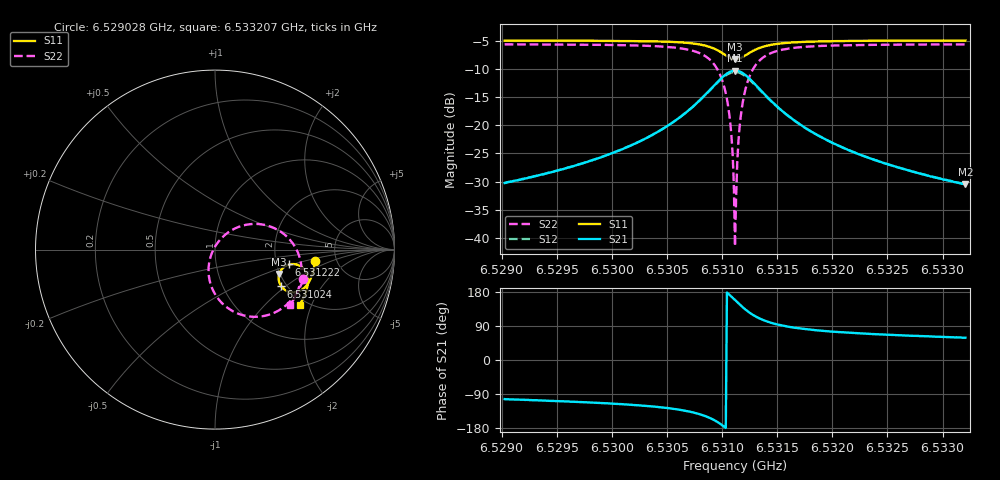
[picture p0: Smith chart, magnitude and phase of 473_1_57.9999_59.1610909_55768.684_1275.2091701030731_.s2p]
#  HZ  S  RI  R  50.00
! Rohde & Schwarz Vector Network Analyzer
! Rohde-Schwarz,ZNB20-2Port,1311601062101988,3.16
! Created: UTC 3/21/2024, 1:11:26 AM
! freq[Hz]  re:S11  im:S11  re:S21  im:S21  re:S12  im:S12  re:S22  im:S22
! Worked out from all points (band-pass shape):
!   401 points, 6.529028 GHz to 6.533207 GHz, reference 50 ohm
!   highest |S21| = -10.34 dB at 6.531118 GHz (marker M1); lowest = -30.5 dB at 6.533207 GHz (marker M2)
!   |S21| within 3 dB of the highest: 6.53091 GHz to 6.531327 GHz (417.2 kHz wide, 0.00639 % of centre)
!   lowest |S11| = -8.3 dB at 6.531118 GHz (marker M3), VSWR 2.24, Z = 99 - j31.6 ohm
!   |S11| at or under -10 dB: nowhere
!   |S22| runs from -41.4 to -5.7 dB; largest |S21 - S12| = 0.012
!   S11 on the Smith chart (normalised r, x): 6.529028 GHz: 3.43, -0.62; 6.531024 GHz: 1.87, -0.93; 6.531222 GHz: 2.34, -0.47; 6.533207 GHz: 1.82, -1.64
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6.5290281e9  0.5576 -0.062  -0.00703 -0.0299  -0.00771 -0.0298  0.4928 -0.1656
6.529728e9  0.5469 -0.1201  -0.0165 -0.0427  -0.0174 -0.0424  0.4624 -0.2305
6.530428e9  0.5182 -0.1888  -0.05 -0.0732  -0.0519 -0.0718  0.3815 -0.3216
6.5306683e9  0.4914 -0.2185  -0.0892 -0.0923  -0.092 -0.0894  0.3017 -0.3625
6.5308459e9  0.4479 -0.2376  -0.1566 -0.0988  -0.159 -0.0924  0.1765 -0.3703
6.5309504e9  0.4036 -0.2322  -0.2255 -0.0725  -0.2248 -0.0633  0.0592 -0.3163
6.5310235e9  0.3692 -0.205  -0.2762 -0.0145  -0.2707 -0.00491  -0.0182 -0.2104
6.5310653e9  0.3566 -0.1774  -0.2922 0.038  -0.2835 0.0457  -0.0361 -0.1206
6.5310862e9  0.3545 -0.1612  -0.2926 0.0677  -0.283 0.0738  -0.0323 -0.0713
6.5310967e9  0.3547 -0.1528  -0.2908 0.0829  -0.2807 0.0882  -0.0269 -0.0468
6.5311071e9  0.3557 -0.1443  -0.2875 0.098  -0.2769 0.1024  -0.0189 -0.0226
6.5311176e9  0.3578 -0.1361  -0.2825 0.1127  -0.2718 0.116  -0.00845 0.000837
6.531128e9  0.3608 -0.1281  -0.2763 0.1268  -0.2655 0.1293  0.00429 0.0233
6.5311385e9  0.3645 -0.1205  -0.2684 0.1403  -0.2579 0.1418  0.019 0.0441
6.5311489e9  0.369 -0.1133  -0.2594 0.1527  -0.2493 0.1534  0.0356 0.0632
6.5311698e9  0.3799 -0.1012  -0.2388 0.1744  -0.2294 0.1735  0.0731 0.0955
6.531222e9  0.4129 -0.0829  -0.1788 0.2063  -0.1723 0.2032  0.1773 0.1391
6.5312952e9  0.4556 -0.0834  -0.1038 0.2082  -0.1004 0.2053  0.304 0.13
6.5313996e9  0.4924 -0.1059  -0.0394 0.1773  -0.0379 0.1757  0.4093 0.0636
6.5318175e9  0.5176 -0.1858  0.0158 0.0856  0.0168 0.0852  0.4824 -0.1281
6.5325175e9  0.498 -0.257  0.0178 0.0409  0.0184 0.0406  0.4544 -0.2451
6.5332071e9  0.471 -0.3083  0.0156 0.0256  0.0159 0.0255  0.4196 -0.3063
